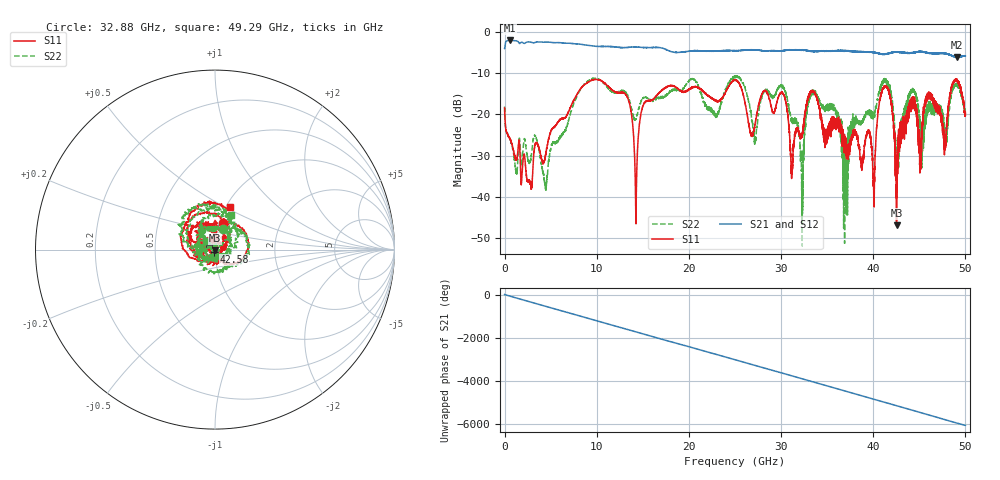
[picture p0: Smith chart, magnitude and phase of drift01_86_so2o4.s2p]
!Created with skrf (http://scikit-rf.org).
# Hz S RI R 50.0
!freq ReS11 ImS11 ReS21 ImS21 ReS12 ImS12 ReS22 ImS22
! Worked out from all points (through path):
!   10001 points, 300 kHz to 50 GHz, reference 50 ohm
!   highest |S21| = -2.00 dB at 570.3 MHz (marker M1); lowest = -6.1 dB at 49.05 GHz (marker M2)
!   group delay of S21, straight-line fit = 336 ps
!   lowest |S11| = -47.0 dB at 42.53 GHz (marker M3), VSWR 1.01, Z = 49.8 - j0.382 ohm
!   |S11| at or under -10 dB: start of sweep to end of sweep
!   |S22| runs from -52.0 to -10.6 dB; largest |S21 - S12| = 0.021
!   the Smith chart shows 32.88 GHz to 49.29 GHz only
!   S11 on the Smith chart (normalised r, x): 32.88 GHz: 1.04, +0.31; 42.58 GHz: 0.99, -0.02; 49.29 GHz: 1.02, +0.50
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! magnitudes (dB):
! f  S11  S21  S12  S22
! 300 kHz  -18.4  -4.0  -4.1  -18.1
! 570.3 MHz  -25.9  -2.0  -2.0  -26.0
! 4.445 GHz  -29.7  -2.4  -2.4  -37.7
! 8.335 GHz  -13.5  -3.0  -3.0  -13.5
! 13.16 GHz  -15.2  -3.7  -3.7  -14.6
! 14.26 GHz  -46.6  -3.6  -3.6  -21.1
! 16.67 GHz  -14.9  -3.7  -3.7  -15.8
! 25 GHz  -11.6  -4.5  -4.5  -10.9
! 27.17 GHz  -22.5  -4.3  -4.3  -26.0
! 30.22 GHz  -14.9  -4.5  -4.5  -13.5
! 32.28 GHz  -25.1  -4.3  -4.3  -45.3
! 32.88 GHz  -16.3  -4.5  -4.5  -18.1
! 33.34 GHz  -14.3  -4.6  -4.6  -14.7
! 36.97 GHz  -29.0  -4.6  -4.5  -30.4
! 40.05 GHz  -37.8  -4.9  -4.9  -19.8
! 41.67 GHz  -13.9  -5.1  -5.1  -12.9
! 42.53 GHz  -47.0  -4.9  -4.8  -32.3
! 42.58 GHz  -36.9  -4.8  -4.8  -32.9
! 44.13 GHz  -17.3  -5.0  -5.0  -14.0
! 49.05 GHz  -11.8  -6.1  -6.0  -12.7
! 49.29 GHz  -12.4  -5.9  -5.9  -13.6
! 50 GHz  -19.5  -5.8  -5.8  -19.6
